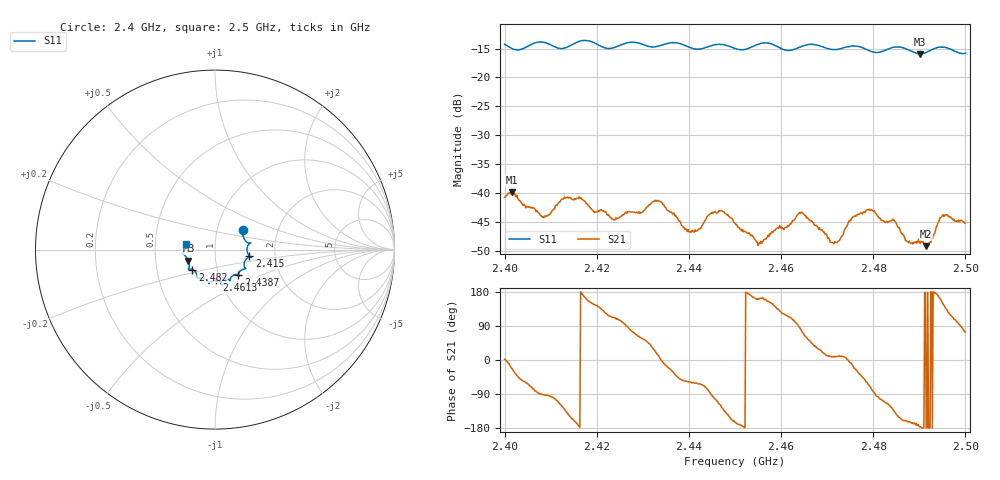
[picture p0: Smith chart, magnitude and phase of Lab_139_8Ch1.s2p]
# Hz S RI R 50
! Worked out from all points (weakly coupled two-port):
!   601 points, 2.4 GHz to 2.5 GHz, reference 50 ohm
!   highest |S21| = -39.84 dB at 2.4017 GHz (marker M1); lowest = -49.2 dB at 2.4915 GHz (marker M2)
!   lowest |S11| = -15.9 dB at 2.4902 GHz (marker M3), VSWR 1.38, Z = 36.9 - j4.65 ohm
!   |S11| at or under -10 dB: start of sweep to end of sweep
!   S12 and S22 are empty: the file has one direction only
!   S11 on the Smith chart (normalised r, x): 2.4 GHz: 1.33, +0.31; 2.415 GHz: 1.47, -0.11; 2.4387 GHz: 1.24, -0.37; 2.4613 GHz: 0.96, -0.34; 2.482 GHz: 0.76, -0.17; 2.5 GHz: 0.72, +0.05
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2.4e9  0.158 0.1117  0.00917 0.000338  0 0  0 0
2.401667e9  0.1554 0.0852  0.00934 -0.00406  0 0  0 0
2.408333e9  0.1986 0.0371  -0.000172 -0.00621  0 0  0 0
2.415e9  0.192 -0.0361  -0.00813 -0.00323  0 0  0 0
2.416667e9  0.2032 -0.0436  -0.00895 0.000431  0 0  0 0
2.423833e9  0.1617 -0.0828  -0.00215 0.00549  0 0  0 0
2.433333e9  0.1322 -0.1316  0.0084 0.00182  0 0  0 0
2.438667e9  0.1303 -0.1418  0.00306 -0.00417  0 0  0 0
2.447e9  0.0844 -0.1737  -0.00382 -0.00594  0 0  0 0
2.45e9  0.0691 -0.1646  -0.0053 -0.0015  0 0  0 0
2.455333e9  0.0349 -0.1926  -0.00355 0.00116  0 0  0 0
2.461333e9  0.00783 -0.1712  -0.00227 0.00453  0 0  0 0
2.464167e9  -0.0285 -0.1816  0.000776 0.00664  0 0  0 0
2.466667e9  -0.0349 -0.1903  0.00408 0.00392  0 0  0 0
2.4715e9  -0.0601 -0.1634  0.00361 0.000513  0 0  0 0
2.478667e9  -0.0999 -0.1422  0.00371 -0.00616  0 0  0 0
2.482e9  -0.126 -0.1112  -0.00167 -0.00555  0 0  0 0
2.483333e9  -0.1396 -0.1084  -0.00262 -0.00499  0 0  0 0
2.490167e9  -0.1478 -0.0615  -0.00367 -0.000265  0 0  0 0
2.4915e9  -0.1593 -0.0418  -0.00348 -1.44e-05  0 0  0 0
2.495e9  -0.1821 -0.0202  -0.00566 0.00299  0 0  0 0
2.5e9  -0.1588 0.032  0.00154 0.00528  0 0  0 0
